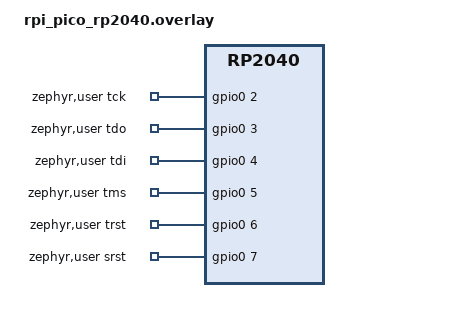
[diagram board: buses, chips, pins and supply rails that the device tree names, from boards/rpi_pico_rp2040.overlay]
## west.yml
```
manifest:
  version: "1.2"
  remotes:
    - name: zephyrproject-rtos
      url-base: https://github.com/zephyrproject-rtos
  projects:
    - name: zephyr
      remote: zephyrproject-rtos
      revision: v4.4.1
      import: true
  self:
    path: DirtyJTAG
```

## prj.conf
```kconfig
CONFIG_GPIO=y
CONFIG_USB_DEVICE_STACK=y
CONFIG_USB_DEVICE_VID=0x1209
CONFIG_USB_DEVICE_PID=0xC0CA
CONFIG_USB_DEVICE_MANUFACTURER="Jean THOMAS"
CONFIG_USB_DEVICE_PRODUCT="DirtyJTAG"
CONFIG_USB_DEVICE_SN="000000000000000000000000"
CONFIG_MAIN_STACK_SIZE=2048
CONFIG_SYSTEM_WORKQUEUE_STACK_SIZE=1024
CONFIG_LOG=n
CONFIG_CONSOLE=n
CONFIG_UART_CONSOLE=n
```

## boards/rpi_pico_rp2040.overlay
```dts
/ {
  zephyr,user {
    tck-gpios = <&gpio0 2 GPIO_ACTIVE_HIGH>;
    tdo-gpios = <&gpio0 3 GPIO_ACTIVE_HIGH>;
    tdi-gpios = <&gpio0 4 GPIO_ACTIVE_HIGH>;
    tms-gpios = <&gpio0 5 GPIO_ACTIVE_HIGH>;
    trst-gpios = <&gpio0 6 GPIO_ACTIVE_HIGH>;
    srst-gpios = <&gpio0 7 GPIO_ACTIVE_HIGH>;
  };
};
```

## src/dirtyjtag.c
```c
/*
  Copyright (c) 2017-2022 The DirtyJTAG authors.

  Permission is hereby granted, free of charge, to any person obtaining
  a copy of this software and associated documentation files (the "Software"),
  to deal in the Software without restriction, including without limitation
  the rights to use, copy, modify, merge, publish, distribute, sublicense,
  and/or sell copies of the Software, and to permit persons to whom the Software
  is furnished to do so, subject to the following conditions:
  The above copyright notice and this permission notice shall be included in
  all copies or substantial portions of the Software.

  THE SOFTWARE IS PROVIDED "AS IS", WITHOUT WARRANTY OF ANY KIND,
  EXPRESS OR IMPLIED, INCLUDING BUT NOT LIMITED TO THE WARRANTIES
  OF MERCHANTABILITY, FITNESS FOR A PARTICULAR PURPOSE AND NONINFRINGEMENT.
  IN NO EVENT SHALL THE AUTHORS OR COPYRIGHT HOLDERS BE LIABLE FOR ANY
  CLAIM, DAMAGES OR OTHER LIABILITY, WHETHER IN AN ACTION OF CONTRACT,
  TORT OR OTHERWISE, ARISING FROM, OUT OF OR IN CONNECTION WITH THE SOFTWARE
  OR THE USE OR OTHER DEALINGS IN THE SOFTWARE.
*/

#include <zephyr/kernel.h>

#include "jtag.h"
#include "usb.h"
#include "delay.h"

int main(void) {
  delay_init();
  usb_reenumerate();
  jtag_init();

  if (usb_init() != 0) {
    return 1;
  }

  while (1) {
    k_sleep(K_FOREVER);
  }

  return 0;
}
```

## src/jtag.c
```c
/*
  Copyright (c) 2017-2022 The DirtyJTAG authors.

  Permission is hereby granted, free of charge, to any person obtaining
  a copy of this software and associated documentation files (the "Software"),
  to deal in the Software without restriction, including without limitation
  the rights to use, copy, modify, merge, publish, distribute, sublicense,
  and/or sell copies of the Software, and to permit persons to whom the Software
  is furnished to do so, subject to the following conditions:
  The above copyright notice and this permission notice shall be included in
  all copies or substantial portions of the Software.

  THE SOFTWARE IS PROVIDED "AS IS", WITHOUT WARRANTY OF ANY KIND,
  EXPRESS OR IMPLIED, INCLUDING BUT NOT LIMITED TO THE WARRANTIES
  OF MERCHANTABILITY, FITNESS FOR A PARTICULAR PURPOSE AND NONINFRINGEMENT.
  IN NO EVENT SHALL THE AUTHORS OR COPYRIGHT HOLDERS BE LIABLE FOR ANY
  CLAIM, DAMAGES OR OTHER LIABILITY, WHETHER IN AN ACTION OF CONTRACT,
  TORT OR OTHERWISE, ARISING FROM, OUT OF OR IN CONNECTION WITH THE SOFTWARE
  OR THE USE OR OTHER DEALINGS IN THE SOFTWARE.
*/

#include <stdint.h>

#include <zephyr/devicetree.h>
#include <zephyr/drivers/gpio.h>
#include <zephyr/kernel.h>

#include "jtag.h"

#define DIRTYJTAG_NODE DT_PATH(zephyr_user)

BUILD_ASSERT(DT_NODE_HAS_PROP(DIRTYJTAG_NODE, tck_gpios),
             "zephyr,user must define tck-gpios");
BUILD_ASSERT(DT_NODE_HAS_PROP(DIRTYJTAG_NODE, tdi_gpios),
             "zephyr,user must define tdi-gpios");
BUILD_ASSERT(DT_NODE_HAS_PROP(DIRTYJTAG_NODE, tdo_gpios),
             "zephyr,user must define tdo-gpios");
BUILD_ASSERT(DT_NODE_HAS_PROP(DIRTYJTAG_NODE, tms_gpios),
             "zephyr,user must define tms-gpios");

static const struct gpio_dt_spec tck = GPIO_DT_SPEC_GET(DIRTYJTAG_NODE, tck_gpios);
static const struct gpio_dt_spec tdi = GPIO_DT_SPEC_GET(DIRTYJTAG_NODE, tdi_gpios);
static const struct gpio_dt_spec tdo = GPIO_DT_SPEC_GET(DIRTYJTAG_NODE, tdo_gpios);
static const struct gpio_dt_spec tms = GPIO_DT_SPEC_GET(DIRTYJTAG_NODE, tms_gpios);

#if DT_NODE_HAS_PROP(DIRTYJTAG_NODE, trst_gpios)
static const struct gpio_dt_spec trst = GPIO_DT_SPEC_GET(DIRTYJTAG_NODE, trst_gpios);
#endif

#if DT_NODE_HAS_PROP(DIRTYJTAG_NODE, srst_gpios)
static const struct gpio_dt_spec srst = GPIO_DT_SPEC_GET(DIRTYJTAG_NODE, srst_gpios);
#endif

static bool max_frequency = true;
static uint32_t half_period_us = 1U;

static void wait_half_period(void) {
  if (!max_frequency) {
    k_busy_wait(half_period_us);
  }
}

static void pulse_tck(void) {
  gpio_pin_set_dt(&tck, 1);
  wait_half_period();
  gpio_pin_set_dt(&tck, 0);
  wait_half_period();
}

void jtag_init(void) {
  if (!gpio_is_ready_dt(&tck) || !gpio_is_ready_dt(&tdi) ||
      !gpio_is_ready_dt(&tdo) || !gpio_is_ready_dt(&tms)) {
    return;
  }

  gpio_pin_configure_dt(&tck, GPIO_OUTPUT_INACTIVE);
  gpio_pin_configure_dt(&tdi, GPIO_OUTPUT_INACTIVE);
  gpio_pin_configure_dt(&tms, GPIO_OUTPUT_INACTIVE);
  gpio_pin_configure_dt(&tdo, GPIO_INPUT | GPIO_PULL_DOWN);

#if DT_NODE_HAS_PROP(DIRTYJTAG_NODE, trst_gpios)
  if (gpio_is_ready_dt(&trst)) {
    gpio_pin_configure_dt(&trst, GPIO_OUTPUT_ACTIVE);
  }
#endif

#if DT_NODE_HAS_PROP(DIRTYJTAG_NODE, srst_gpios)
  if (gpio_is_ready_dt(&srst)) {
    gpio_pin_configure_dt(&srst, GPIO_OUTPUT_ACTIVE);
  }
#endif
}

void jtag_set_frequency(uint32_t frequency) {
  if (frequency == 0U) {
    frequency = 1U;
  } else if (frequency > 1500U) {
    frequency = 1500U;
  }

  max_frequency = (frequency == 1500U);
  half_period_us = 500U / frequency;
  if (half_period_us == 0U) {
    half_period_us = 1U;
  }
}

void jtag_set_tck(uint8_t value) {
  gpio_pin_set_dt(&tck, value ? 1 : 0);
}

void jtag_set_tms(uint8_t value) {
  gpio_pin_set_dt(&tms, value ? 1 : 0);
}

void jtag_set_tdi(uint8_t value) {
  gpio_pin_set_dt(&tdi, value ? 1 : 0);
}

uint8_t jtag_get_tdo(void) {
  return gpio_pin_get_dt(&tdo) > 0 ? 1 : 0;
}

void jtag_set_trst(uint8_t value) {
#if DT_NODE_HAS_PROP(DIRTYJTAG_NODE, trst_gpios)
  gpio_pin_set_dt(&trst, value ? 1 : 0);
#else
  (void)value;
#endif
}

void jtag_set_srst(uint8_t value) {
#if DT_NODE_HAS_PROP(DIRTYJTAG_NODE, srst_gpios)
  gpio_pin_set_dt(&srst, value ? 1 : 0);
#else
  (void)value;
#endif
}

void jtag_transfer(uint16_t length, const uint8_t *in, uint8_t *out) {
  uint32_t xfer_i = 0;

  jtag_set_tms(0);

  while (xfer_i < length) {
    uint8_t bitmask = 0x80 >> (xfer_i % 8);

    jtag_set_tdi(in[xfer_i / 8] & bitmask);
    wait_half_period();
    jtag_set_tck(1);

    if (jtag_get_tdo()) {
      out[xfer_i / 8] |= bitmask;
    }

    xfer_i++;
    wait_half_period();
    jtag_set_tck(0);
  }
}

bool jtag_strobe(uint8_t pulses, bool tms_value, bool tdi_value) {
  bool ret;

  jtag_set_tms(tms_value);
  jtag_set_tdi(tdi_value);

  if (!pulses) {
    return jtag_get_tdo();
  }

  while (--pulses) {
    pulse_tck();
  }

  gpio_pin_set_dt(&tck, 1);
  wait_half_period();
  ret = jtag_get_tdo();
  gpio_pin_set_dt(&tck, 0);
  wait_half_period();

  return ret;
}
```

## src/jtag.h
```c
/*
  Copyright (c) 2017-2022 The DirtyJTAG authors.

  Permission is hereby granted, free of charge, to any person obtaining
  a copy of this software and associated documentation files (the "Software"),
  to deal in the Software without restriction, including without limitation
  the rights to use, copy, modify, merge, publish, distribute, sublicense,
  and/or sell copies of the Software, and to permit persons to whom the Software
  is furnished to do so, subject to the following conditions:
  The above copyright notice and this permission notice shall be included in
  all copies or substantial portions of the Software.

  THE SOFTWARE IS PROVIDED "AS IS", WITHOUT WARRANTY OF ANY KIND,
  EXPRESS OR IMPLIED, INCLUDING BUT NOT LIMITED TO THE WARRANTIES
  OF MERCHANTABILITY, FITNESS FOR A PARTICULAR PURPOSE AND NONINFRINGEMENT.
  IN NO EVENT SHALL THE AUTHORS OR COPYRIGHT HOLDERS BE LIABLE FOR ANY
  CLAIM, DAMAGES OR OTHER LIABILITY, WHETHER IN AN ACTION OF CONTRACT,
  TORT OR OTHERWISE, ARISING FROM, OUT OF OR IN CONNECTION WITH THE SOFTWARE
  OR THE USE OR OTHER DEALINGS IN THE SOFTWARE.
*/

#pragma once

#include <stdbool.h>
#include <stdint.h>

/**
 * @brief Initialize JTAG
 *
 * Set GPIO in correct state for JTAG operation
 */
void jtag_init(void);

/**
 * @brief Set JTAG clock frequency
 *
 * Set JTAG clock frequency. Currently not working.
 *
 * @param frequency Frequency in kHz
 */
void jtag_set_frequency(uint32_t frequency);

/**
 * @brief Set TCK state
 *
 * @param value TCK logic level
 */
void jtag_set_tck(uint8_t value);

/**
 * @brief Set TMS state
 *
 * @param value TMS logic level
 */
void jtag_set_tms(uint8_t value);

/**
 * @brief Set TDI state
 *
 * @param value TDI logic level
 */
void jtag_set_tdi(uint8_t value);

/**
 * @brief Get TDO state
 *
 * @return TDO logic level
 */
uint8_t jtag_get_tdo(void);

/**
 * @brief Set TRST state
 *
 * @param value TRST logic level
 */
void jtag_set_trst(uint8_t value);

/**
 * @brief Set SRST state
 *
 * @param value SRST logic level
 */
void jtag_set_srst(uint8_t value);

/**
 * @brief Read and write multiple bits
 *
 * Read and write multiple bits. In order to save memory,
 * each bit of the in/out arrays are used to carry data.
 *
 * @param length Number of bits exchanged
 * @param in Input data
 * @param out Output data
 */
void jtag_transfer(uint16_t length, const uint8_t *in,
		   uint8_t *out);

/**
 * @brief Send clock pulses
 *
 * Send clock pulses with defined TMS and TDI logic
 * levels.
 *
 * @param pulses Number of clock pulses
 * @param tms Logic state of TMS
 * @param tdi Logic state of TDI
 * @return Last TDO state
 */
bool jtag_strobe(uint8_t pulses, bool tms, bool tdi);
```

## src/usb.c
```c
/*
  Copyright (c) 2017-2022 The DirtyJTAG authors.

  Permission is hereby granted, free of charge, to any person obtaining
  a copy of this software and associated documentation files (the "Software"),
  to deal in the Software without restriction, including without limitation
  the rights to use, copy, modify, merge, publish, distribute, sublicense,
  and/or sell copies of the Software, and to permit persons to whom the Software
  is furnished to do so, subject to the following conditions:
  The above copyright notice and this permission notice shall be included in
  all copies or substantial portions of the Software.

  THE SOFTWARE IS PROVIDED "AS IS", WITHOUT WARRANTY OF ANY KIND,
  EXPRESS OR IMPLIED, INCLUDING BUT NOT LIMITED TO THE WARRANTIES
  OF MERCHANTABILITY, FITNESS FOR A PARTICULAR PURPOSE AND NONINFRINGEMENT.
  IN NO EVENT SHALL THE AUTHORS OR COPYRIGHT HOLDERS BE LIABLE FOR ANY
  CLAIM, DAMAGES OR OTHER LIABILITY, WHETHER IN AN ACTION OF CONTRACT,
  TORT OR OTHERWISE, ARISING FROM, OUT OF OR IN CONNECTION WITH THE SOFTWARE
  OR THE USE OR OTHER DEALINGS IN THE SOFTWARE.
*/

#include <stdint.h>
#include <string.h>

#include <zephyr/sys/byteorder.h>
#include <zephyr/sys/util.h>
#include <zephyr/usb/usb_ch9.h>
#include <zephyr/usb/usb_device.h>

#include "cmd.h"
#include "delay.h"
#include "usb.h"

struct dirtyjtag_usb_desc {
  struct usb_if_descriptor iface;
  struct usb_ep_descriptor ep_out;
  struct usb_ep_descriptor ep_in;
} __packed;

static uint8_t rx_usb_buffer[DIRTYJTAG_USB_BUFFER_SIZE];
static uint8_t tx_usb_buffer[DIRTYJTAG_USB_BUFFER_SIZE];

static void dirtyjtag_out_cb(uint8_t ep, enum usb_dc_ep_cb_status_code status) {
  uint32_t read = 0U;

  ARG_UNUSED(status);

  if (usb_read(ep, rx_usb_buffer, sizeof(rx_usb_buffer), &read) != 0) {
    return;
  }

  if (read > 0U) {
    const struct dirtyjtag_usb_transfer transfer = {
      .buffer = rx_usb_buffer,
      .transferred = read,
    };

    cmd_handle(&transfer);
  }
}

static void dirtyjtag_in_cb(uint8_t ep, enum usb_dc_ep_cb_status_code status) {
  ARG_UNUSED(ep);
  ARG_UNUSED(status);
}

static void dirtyjtag_status_cb(struct usb_cfg_data *cfg,
                                enum usb_dc_status_code status,
                                const uint8_t *param) {
  ARG_UNUSED(cfg);
  ARG_UNUSED(status);
  ARG_UNUSED(param);
}

static struct usb_ep_cfg_data dirtyjtag_ep_cfg[] = {
  {
    .ep_cb = dirtyjtag_out_cb,
    .ep_addr = DIRTYJTAG_READ_ENDPOINT,
  },
  {
    .ep_cb = dirtyjtag_in_cb,
    .ep_addr = DIRTYJTAG_WRITE_ENDPOINT,
  },
};

USBD_CLASS_DESCR_DEFINE(primary, 0) struct dirtyjtag_usb_desc dirtyjtag_desc = {
  .iface = {
    .bLength = sizeof(struct usb_if_descriptor),
    .bDescriptorType = USB_DESC_INTERFACE,
    .bInterfaceNumber = 0,
    .bAlternateSetting = 0,
    .bNumEndpoints = 2,
    .bInterfaceClass = USB_BCC_VENDOR,
    .bInterfaceSubClass = 0,
    .bInterfaceProtocol = 0,
    .iInterface = 0,
  },
  .ep_out = {
    .bLength = sizeof(struct usb_ep_descriptor),
    .bDescriptorType = USB_DESC_ENDPOINT,
    .bEndpointAddress = DIRTYJTAG_READ_ENDPOINT,
    .bmAttributes = USB_DC_EP_BULK,
    .wMaxPacketSize = sys_cpu_to_le16(DIRTYJTAG_USB_BUFFER_SIZE),
    .bInterval = 0,
  },
  .ep_in = {
    .bLength = sizeof(struct usb_ep_descriptor),
    .bDescriptorType = USB_DESC_ENDPOINT,
    .bEndpointAddress = DIRTYJTAG_WRITE_ENDPOINT,
    .bmAttributes = USB_DC_EP_BULK,
    .wMaxPacketSize = sys_cpu_to_le16(DIRTYJTAG_USB_BUFFER_SIZE),
    .bInterval = 0,
  },
};

USBD_DEFINE_CFG_DATA(dirtyjtag_config) = {
  .usb_device_description = NULL,
  .interface_descriptor = &dirtyjtag_desc.iface,
  .cb_usb_status = dirtyjtag_status_cb,
  .interface = {
    .vendor_handler = NULL,
    .class_handler = NULL,
    .custom_handler = NULL,
  },
  .num_endpoints = ARRAY_SIZE(dirtyjtag_ep_cfg),
  .endpoint = dirtyjtag_ep_cfg,
};

void usb_read_serial(void) {
}

int usb_init(void) {
  memset(rx_usb_buffer, 0, sizeof(rx_usb_buffer));
  memset(tx_usb_buffer, 0, sizeof(tx_usb_buffer));

  return usb_enable(NULL);
}

void usb_reenumerate(void) {
  delay_us(20000);
}

void usb_send(uint8_t *sent_buffer, uint8_t sent_size) {
  uint32_t wrote = 0U;

  if (sent_size > sizeof(tx_usb_buffer)) {
    sent_size = sizeof(tx_usb_buffer);
  }

  memcpy(tx_usb_buffer, sent_buffer, sent_size);
  (void)usb_write(DIRTYJTAG_WRITE_ENDPOINT, tx_usb_buffer, sent_size, &wrote);
}
```

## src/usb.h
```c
/*
  Copyright (c) 2017-2022 The DirtyJTAG authors.

  Permission is hereby granted, free of charge, to any person obtaining
  a copy of this software and associated documentation files (the "Software"),
  to deal in the Software without restriction, including without limitation
  the rights to use, copy, modify, merge, publish, distribute, sublicense,
  and/or sell copies of the Software, and to permit persons to whom the Software
  is furnished to do so, subject to the following conditions:
  The above copyright notice and this permission notice shall be included in
  all copies or substantial portions of the Software.

  THE SOFTWARE IS PROVIDED "AS IS", WITHOUT WARRANTY OF ANY KIND,
  EXPRESS OR IMPLIED, INCLUDING BUT NOT LIMITED TO THE WARRANTIES
  OF MERCHANTABILITY, FITNESS FOR A PARTICULAR PURPOSE AND NONINFRINGEMENT.
  IN NO EVENT SHALL THE AUTHORS OR COPYRIGHT HOLDERS BE LIABLE FOR ANY
  CLAIM, DAMAGES OR OTHER LIABILITY, WHETHER IN AN ACTION OF CONTRACT,
  TORT OR OTHERWISE, ARISING FROM, OUT OF OR IN CONNECTION WITH THE SOFTWARE
  OR THE USE OR OTHER DEALINGS IN THE SOFTWARE.
*/

#pragma once

#include <stdint.h>

#define DIRTYJTAG_READ_ENDPOINT 0x01
#define DIRTYJTAG_WRITE_ENDPOINT 0x82
#define DIRTYJTAG_USB_BUFFER_SIZE 64

struct dirtyjtag_usb_transfer {
  const uint8_t *buffer;
  uint32_t transferred;
};

/**
 * @bried Update USB descriptor serial with the MCU's internal ID
 */
void usb_read_serial(void);

/**
 * @brief Initialises USB peripheral
 */
int usb_init(void);

/**
 * @brief Gives boards a chance to force USB reenumeration
 */
void usb_reenumerate(void);

/**
 * @brief Send a bulk USB packet
 *
 * @param sent_buffer Data buffer
 * @param size Size in bytes
 */
void usb_send(uint8_t *sent_buffer, uint8_t size);
```
